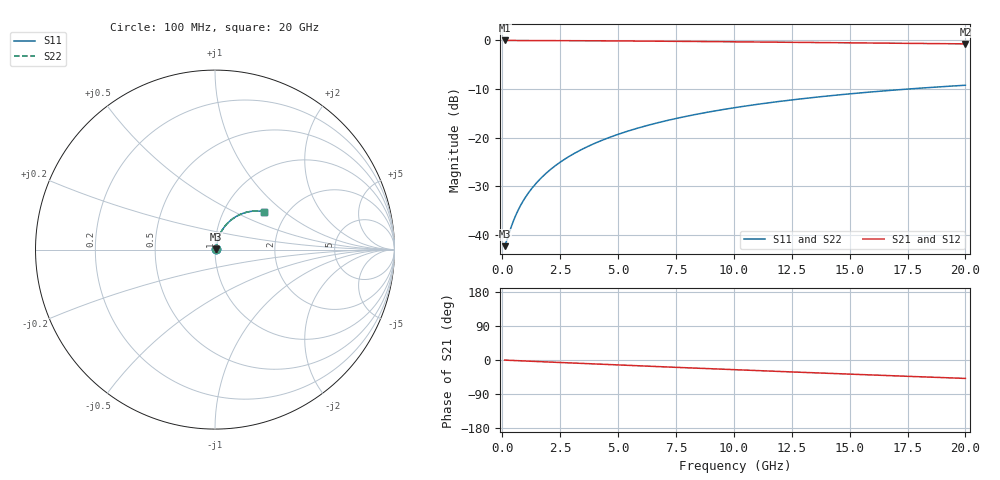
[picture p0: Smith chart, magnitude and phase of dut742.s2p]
! Touchstone file exported from HFSS 2026.1.0
!  File:  C:/ffzhzh/LocalFiles/Ansys_Project_Files/temp_train_TMRDL_742_1783155131_55132.aedt
!  Generated:  04:53:22 PM Jul  4, 2026
!  Design:  TMRDL
!  Project:  temp_train_TMRDL_742_1783155131_55132
! Variables:
!  h_bsmrdl = 2um
!  h_ox = 20um
!  h_rdl = 5um
!  h_sub = 80um
!  h_tmrdl = 3.76um
!  h_tsv = 80um
!  h_via = 3um
!  l_bsmrdl = 300um
!  l_sub = 1214.92um
!  l_tmrdl = 814.92um
!  m_sub = 200um
!  pitch = 21.49um
!  r_tsv = 6um
!  s_tmrdl = 10um
!  w_bsmrdl = 18um
!  w_sub = 500um
!  w_tmrdl = 10.46um
!  x_tsv_center1 = 820.15um
!  x_tsv_center2 = 1138.15um
!  x_tsv_center3 = 1963.53um
!  x_tsv_center4 = 2281.53um
!  x_tsv_center5 = 3106.91um
!  x_tsv_center6 = 3424.91um
# GHz S MA R 50.000000
! Terminal data exported
! Port[1] = TM_RDL1_1_T1
! Port[2] = TM_RDL1_1_T2
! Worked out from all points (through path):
!   200 points, 100 MHz to 20 GHz, reference 50 ohm
!   highest |S21| = -0.06 dB at 100 MHz (marker M1); lowest = -0.8 dB at 20 GHz (marker M2)
!   group delay of S21, straight-line fit = 6.74 ps
!   lowest |S11| = -42.3 dB at 100 MHz (marker M3), VSWR 1.02, Z = 50.7 + j0.25 ohm
!   |S11| at or under -10 dB: start of sweep to 17.6 GHz
!   |S22| runs from -42.3 to -9.3 dB; largest |S21 - S12| = 3.1e-15
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0.1  0.007711 18.7  0.9927 -0.3  0.9927 -0.3  0.007711 18.7
! Gamma 0 0 0 0
! Port Impedance 50 0 50 0
0.2  0.008931 33.2  0.9926 -0.6  0.9926 -0.6  0.008931 33.2
0.4  0.01244 50.0  0.9921 -1.1  0.9921 -1.1  0.01244 50.0
0.5  0.01438 54.8  0.9919 -1.4  0.9919 -1.4  0.01438 54.8
0.7  0.01836 61.0  0.9915 -1.9  0.9915 -1.9  0.01836 61.0
0.8  0.02038 63.2  0.9914 -2.2  0.9914 -2.2  0.02038 63.2
1  0.02446 66.4  0.991 -2.7  0.991 -2.7  0.02446 66.4
1.3  0.03067 69.5  0.9906 -3.5  0.9906 -3.5  0.03067 69.5
1.7  0.03907 71.8  0.9901 -4.5  0.9901 -4.5  0.03907 71.8
2.2  0.04965 73.0  0.9892 -5.8  0.9892 -5.8  0.04965 73.0
2.8  0.06238 73.3  0.9881 -7.4  0.9881 -7.4  0.06238 73.3
3.5  0.07715 72.9  0.9865 -9.2  0.9865 -9.2  0.07715 72.9
4.2  0.09175 71.9  0.9846 -11.0  0.9846 -11.0  0.09174 71.9
5  0.1082 70.5  0.9821 -13.1  0.9821 -13.1  0.1082 70.5
5.9  0.1262 68.7  0.979 -15.4  0.979 -15.4  0.1262 68.7
6.8  0.1438 66.8  0.9756 -17.6  0.9756 -17.6  0.1438 66.8
8.3  0.1721 63.4  0.9695 -21.4  0.9695 -21.4  0.1721 63.5
10.1  0.2041 59.4  0.9616 -25.8  0.9616 -25.8  0.2041 59.4
11.7  0.2309 55.8  0.9543 -29.6  0.9543 -29.6  0.2309 55.8
13.4  0.2577 52.0  0.9463 -33.6  0.9463 -33.6  0.2577 52.0
16.7  0.3046 44.8  0.9308 -41.2  0.9308 -41.2  0.3046 44.8
20  0.3448 37.8  0.9159 -48.6  0.9159 -48.6  0.3447 37.8
